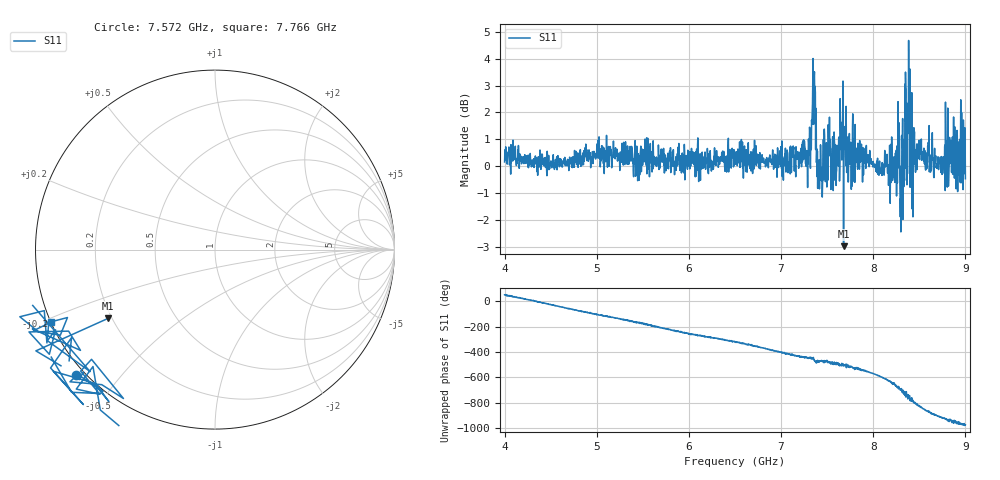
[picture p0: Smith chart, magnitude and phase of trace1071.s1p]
! Created with skrf 1.8.0 (http://scikit-rf.org).
# Hz S RI R 50.0
!freq ReS11 ImS11
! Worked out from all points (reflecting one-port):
!   1601 points, 4 GHz to 9 GHz, reference 50 ohm
!   lowest |S11| = -3.0 dB at 7.678 GHz (marker M1), VSWR 5.88, Z = 9.22 - j14.2 ohm
!   phase of S11 starts at 52 deg and turns -1026 deg over the sweep
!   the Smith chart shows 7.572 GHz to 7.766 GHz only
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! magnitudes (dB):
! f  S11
! 4 GHz  0.2
! 4.625 GHz  0.0
! 5.25 GHz  -0.2
! 5.875 GHz  0.5
! 6.5 GHz  0.4
! 7.125 GHz  0.6
! 7.294 GHz  0.1
! 7.356 GHz  3.5
! 7.369 GHz  3.0
! 7.4 GHz  0.1
! 7.422 GHz  -0.5
! 7.509 GHz  -0.5
! 7.609 GHz  0.3
! 7.65 GHz  1.6
! 7.678 GHz  -3.0
! 7.75 GHz  0.1
! 7.8 GHz  -0.6
! 8.097 GHz  0.1
! 8.262 GHz  -0.6
! 8.316 GHz  0.7
! 8.331 GHz  -0.8
! 8.366 GHz  -0.7
! 8.375 GHz  1.2
! 8.447 GHz  1.3
! 8.503 GHz  0.2
! 8.756 GHz  0.1
! 8.972 GHz  0.8
! 9 GHz  -0.5
